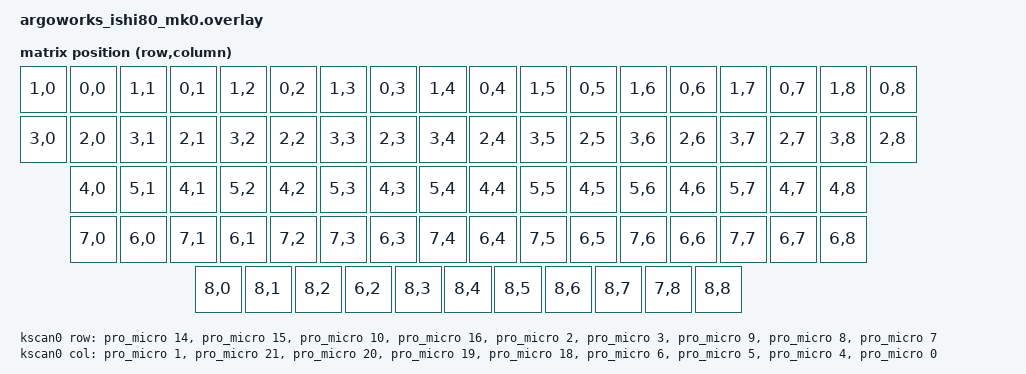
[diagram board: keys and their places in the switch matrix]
/*
 * Copyright (c) 2022 The ZMK Contributors
 *
 * SPDX-License-Identifier: MIT
 */

#include <dt-bindings/zmk/matrix_transform.h>

/ {
    chosen {
        zmk,kscan = &kscan0;
        zmk,matrix_transform = &default_transform;
    };

    default_transform: keymap_transform_0 {
        compatible = "zmk,matrix-transform";
        columns = <9>;
        rows = <9>;

// -------------------------------------------------------------------------------------------------------------------------------------------------------------------------------------------
// |  MX01  |  MX02  |  MX03  |  MX04  |    |  MX05  |  MX06  |  MX07  |  MX08  |  MX09  |  MX10  |  MX11  |  MX12  |  MX13  |  MX14  |  MX15  |  MX16  |  MX17  |    MX18    |
// |  MX19  |  MX20  |  MX21  |  MX22  |    |  MX23    |  MX24  |  MX25  |  MX26  |  MX27  |  MX28  |  MX29  |  MX30  |  MX31  |  MX32  |  MX33  |  MX34  |  MX35  |  MX36    |
// |        |  MX37  |  MX38  |  MX39  |    |  MX40       |  MX41  |  MX42  |  MX43  |  MX44  |  MX45  |  MX46  |  MX47  |  MX48  |  MX49  |  MX50  |  MX51  |     MX52       |
// |  MX53  |  MX54  |  MX55  |  MX56  |    |  MX57            |  MX58  |  MX59  |  MX60  |  MX61  |  MX62  |  MX63  |  MX64  |  MX65  |  MX66  |  MX67  |       MX68         |
// |        |  MX69  |  MX70  |        |    |    MX71    |    MX72    |    MX73    |                MX74                  |    MX75    |    MX76    |    MX77    |    MX78    |    |  MX79  |
// -------------------------------------------------------------------------------------------------------------------------------------------------------------------------------------------

        map = <
        RC(1,0)  RC(0,0)  RC(1,1)  RC(0,1)      RC(1,2)  RC(0,2)  RC(1,3)  RC(0,3)  RC(1,4)  RC(0,4)  RC(1,5)  RC(0,5)  RC(1,6)  RC(0,6)  RC(1,7)  RC(0,7)  RC(1,8)    RC(0,8)
        RC(3,0)  RC(2,0)  RC(3,1)  RC(2,1)      RC(3,2)   RC(2,2)  RC(3,3)  RC(2,3)  RC(3,4)  RC(2,4)  RC(3,5)  RC(2,5)  RC(3,6)  RC(2,6)  RC(3,7)  RC(2,7)  RC(3,8)   RC(2,8)
                 RC(4,0)  RC(5,1)  RC(4,1)      RC(5,2)     RC(4,2)  RC(5,3)  RC(4,3)  RC(5,4)  RC(4,4)  RC(5,5)  RC(4,5)  RC(5,6)  RC(4,6)  RC(5,7)  RC(4,7)          RC(4,8)
        RC(7,0)  RC(6,0)  RC(7,1)  RC(6,1)      RC(7,2)            RC(7,3)  RC(6,3)  RC(7,4)  RC(6,4)  RC(7,5)  RC(6,5)  RC(7,6)  RC(6,6)  RC(7,7)  RC(6,7)            RC(6,8)
                 RC(8,0)  RC(8,1)               RC(8,2)       RC(6,2)       RC(8,3)                  RC(8,4)                 RC(8,5)       RC(8,6)       RC(8,7)       RC(7,8)      RC(8,8)  
        >;
    };

    kscan0: kscan_0 {
        compatible = "zmk,kscan-gpio-matrix";
        label = "KSCAN";
        diode-direction = "col2row";

        col-gpios
            = <&pro_micro 1  GPIO_ACTIVE_HIGH> //COL0
            , <&pro_micro 21 GPIO_ACTIVE_HIGH> //COL1
            , <&pro_micro 20 GPIO_ACTIVE_HIGH> //COL2
            , <&pro_micro 19 GPIO_ACTIVE_HIGH> //COL3
            , <&pro_micro 18 GPIO_ACTIVE_HIGH> //COL4
            , <&pro_micro 6  GPIO_ACTIVE_HIGH> //COL5
            , <&pro_micro 5  GPIO_ACTIVE_HIGH> //COL6
            , <&pro_micro 4  GPIO_ACTIVE_HIGH> //COL7
            , <&pro_micro 0  GPIO_ACTIVE_HIGH> //COL8
            ;

        row-gpios
            = <&pro_micro 14 (GPIO_ACTIVE_HIGH | GPIO_PULL_DOWN)> //ROW0
            , <&pro_micro 15 (GPIO_ACTIVE_HIGH | GPIO_PULL_DOWN)> //ROW1
            , <&pro_micro 10 (GPIO_ACTIVE_HIGH | GPIO_PULL_DOWN)> //ROW2
            , <&pro_micro 16 (GPIO_ACTIVE_HIGH | GPIO_PULL_DOWN)> //ROW3
            , <&pro_micro 2  (GPIO_ACTIVE_HIGH | GPIO_PULL_DOWN)> //ROW4
            , <&pro_micro 3  (GPIO_ACTIVE_HIGH | GPIO_PULL_DOWN)> //ROW5
            , <&pro_micro 9  (GPIO_ACTIVE_HIGH | GPIO_PULL_DOWN)> //ROW6
            , <&pro_micro 8  (GPIO_ACTIVE_HIGH | GPIO_PULL_DOWN)> //ROW7
            , <&pro_micro 7  (GPIO_ACTIVE_HIGH | GPIO_PULL_DOWN)> //ROW8
            ;
    };
};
